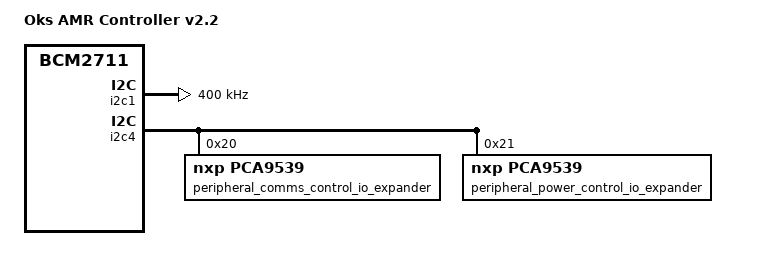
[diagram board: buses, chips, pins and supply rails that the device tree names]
// SPDX-License-Identifier: GPL-2.0
/dts-v1/;

#include "oks_amr_controller_2v1.dts"

/ {
    model = "Oks AMR Controller v2.2";
    compatible = "oks,amr-controller-v2.2", "brcm,bcm2711";

    chosen {
        bootargs = "console=tty1 coherent_pool=1M 8250.nr_uarts=0 snd_bcm2835.enable_headphones=0";
    };

    oks_board_version {
        compatible = "oks,board-version";
        version = "2.2";
    };
};

&i2c1 {
    clock-frequency = <400000>;
    status = "okay";
};

&i2c6 {
    pca953x_1: pca953x@20 {
            status = "disabled";
    };
};

&i2c4 {
    pca953x_2: pca953x@21 {
            status = "disabled";
    };

    pca953x_3: pca953x@20 {
            compatible = "nxp,pca9539";
            reg = <0x20>;
            gpio-controller;
            #gpio-cells = <2>;
            label = "peripheral_comms_control_io_expander";
            gpio-line-names = "LINE_FOLLOWER_FRONT_EN", "LINE_FOLLOWER_REAR_EN", "LINE_FOLLOWER_LEFT_EN", "LINE_FOLLOWER_RIGHT_EN", "COLLISION_SENSOR_FRONT_EN", "COLLISION_SENSOR_REAR_EN", "COLLISION_SENSOR_LEFT_EN", "COLLISION_SENSOR_RIGHT_EN", "WEIGHT_SENSOR_FR_EN", "WEIGHT_SENSOR_FL_EN", "WEIGHT_SENSOR_RR_EN", "WEIGHT_SENSOR_RL_EN", "LINE_FOLLOWER_PWR_EN", "COLLISION_SENSOR_PWR_EN", "WEIGHT_SENSOR_PWR_EN", "RES_TP10";
            gpio-default-states = <0 0 0 0 0 0 0 0  0 0 0 0 0 0 0 0>;
    };

    pca953x_4: pca953x@21 {
        status = "okay";
        compatible = "nxp,pca9539";
        reg = <0x21>;
        gpio-controller;
        #gpio-cells = <2>;
        label = "peripheral_power_control_io_expander";
        gpio-line-names = "PWR_WHEEL_EN_FR", "PWR_WHEEL_EN_FL", "PWR_WHEEL_EN_RR", "PWR_WHEEL_EN_RL", "RES1", "RES2", "RES3", "RES4", "LIFTER_SIG_EN_FR", "LIFTER_SIG_EN_FL", "LIFTER_SIG_EN_RR", "LIFTER_SIG_EN_RL", "LIFTER_PWR_EN", "RES6", "RES7", "RES8";
        gpio-default-states = <0 0 0 0 0 0 0 0  1 1 1 1 1 0 0 0>;
    };
};
